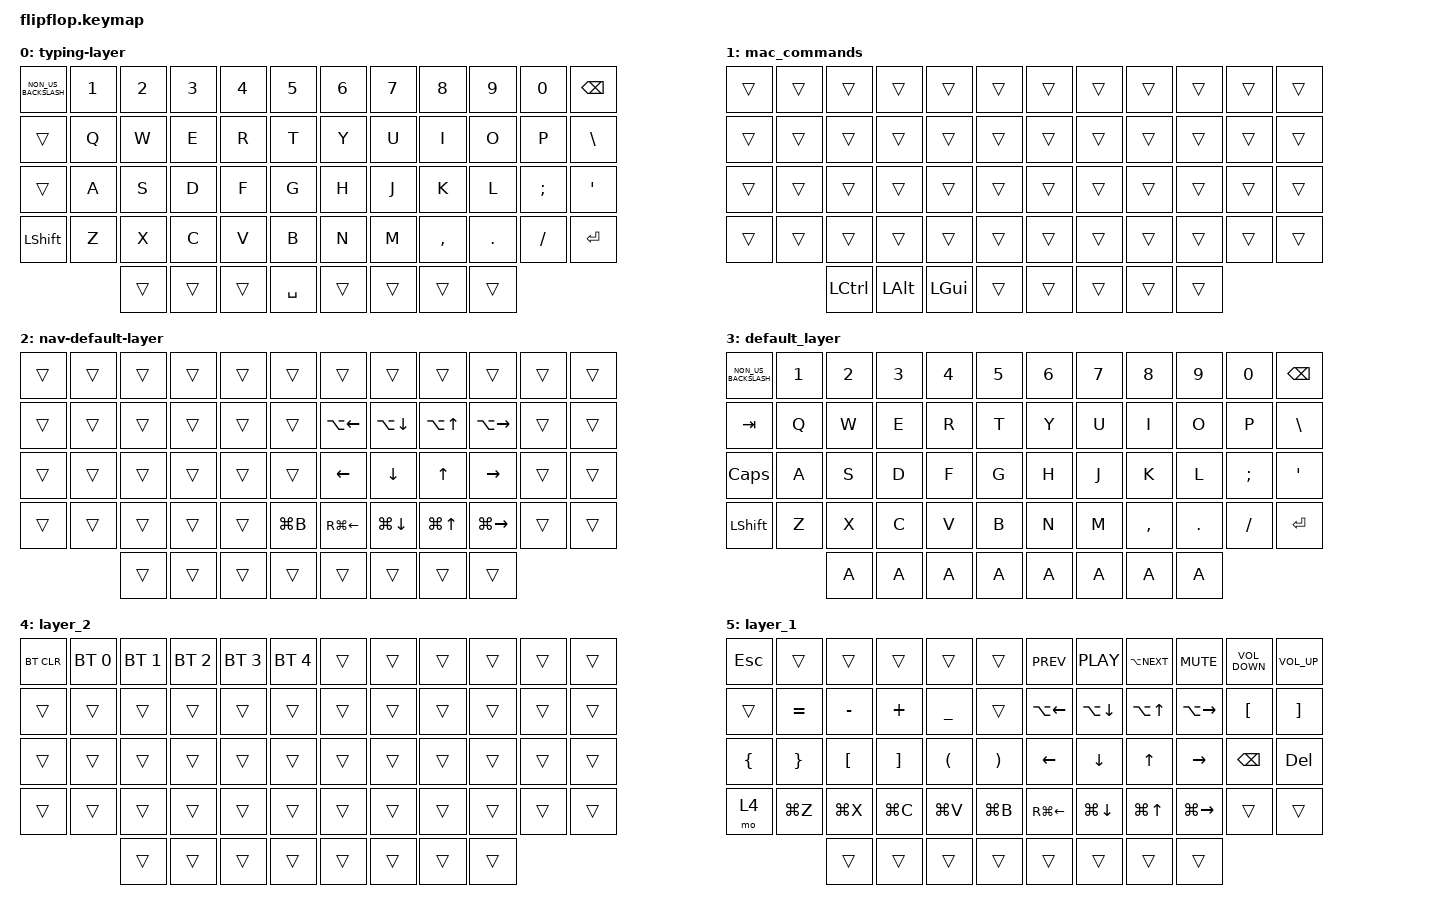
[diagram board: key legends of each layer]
#include <behaviors.dtsi>
#include <dt-bindings/zmk/bt.h>
#include <dt-bindings/zmk/keys.h>

/ {
    keymap {
        compatible = "zmk,keymap";

        typing-layer {
            bindings = <
&kp NON_US_BACKSLASH  &kp N1  &kp N2  &kp N3  &kp N4  &kp N5       &kp N6  &kp N7  &kp N8     &kp N9   &kp N0    &kp BACKSPACE
&trans                &kp Q   &kp W   &kp E   &kp R   &kp T        &kp Y   &kp U   &kp I      &kp O    &kp P     &kp BSLH
&trans                &kp A   &kp S   &kp D   &kp F   &kp G        &kp H   &kp J   &kp K      &kp L    &kp SEMI  &kp APOS
&kp LEFT_SHIFT        &kp Z   &kp X   &kp C   &kp V   &kp B        &kp N   &kp M   &kp COMMA  &kp DOT  &kp FSLH  &kp RET
                              &trans  &trans  &trans  &kp SPACE    &trans  &trans  &trans     &trans
            >;
        };

        mac_commands {
            bindings = <
&trans  &trans  &trans     &trans    &trans    &trans    &trans  &trans  &trans  &trans  &trans  &trans
&trans  &trans  &trans     &trans    &trans    &trans    &trans  &trans  &trans  &trans  &trans  &trans
&trans  &trans  &trans     &trans    &trans    &trans    &trans  &trans  &trans  &trans  &trans  &trans
&trans  &trans  &trans     &trans    &trans    &trans    &trans  &trans  &trans  &trans  &trans  &trans
                &kp LCTRL  &kp LALT  &kp LGUI  &trans    &trans  &trans  &trans  &trans
            >;
        };

        nav-default-layer {
            bindings = <
&trans  &trans  &trans  &trans  &trans  &trans       &trans              &trans              &trans            &trans               &trans  &trans
&trans  &trans  &trans  &trans  &trans  &trans       &kp LA(LEFT_ARROW)  &kp LA(DOWN_ARROW)  &kp LA(UP_ARROW)  &kp LA(RIGHT_ARROW)  &trans  &trans
&trans  &trans  &trans  &trans  &trans  &trans       &kp LEFT_ARROW      &kp DOWN_ARROW      &kp UP_ARROW      &kp RIGHT_ARROW      &trans  &trans
&trans  &trans  &trans  &trans  &trans  &kp LG(B)    &kp RG(LEFT_ARROW)  &kp LG(DOWN_ARROW)  &kp LG(UP_ARROW)  &kp LG(RIGHT_ARROW)  &trans  &trans
                &trans  &trans  &trans  &trans       &trans              &trans              &trans            &trans
            >;
        };

        default_layer {
            // ---------------------------------------------------------------------------------
            // |   `  |  1  |  2  |  3  |  4  |  5  |     |  6  |  7  |  8  |  9  |  0  | BKSP |
            // |  TAB |  Q  |  W  |  E  |  R  |  T  |     |  Y  |  U  |  I  |  O  |  P  |  \   |
            // | CAPS |  A  |  S  |  D  |  F  |  G  |     |  H  |  J  |  K  |  L  |  ;  |  ENT |
            // | SHFT |  Z  |  X  |  C  |  V  |  B  |     |  N  |  M  |  ,  |  .  |  /  | APOS |
            //              | GUI | SPC | SPC | SPC |     | SPC |  B  |  C  |  D |

            bindings = <
&kp NON_US_BACKSLASH  &kp N1  &kp N2  &kp N3  &kp N4  &kp N5    &kp N6  &kp N7  &kp N8     &kp N9   &kp N0    &kp BSPC
&kp TAB               &kp Q   &kp W   &kp E   &kp R   &kp T     &kp Y   &kp U   &kp I      &kp O    &kp P     &kp BSLH
&kp CAPS              &kp A   &kp S   &kp D   &kp F   &kp G     &kp H   &kp J   &kp K      &kp L    &kp SEMI  &kp APOS
&kp LSHFT             &kp Z   &kp X   &kp C   &kp V   &kp B     &kp N   &kp M   &kp COMMA  &kp DOT  &kp FSLH  &kp ENTER
                              &kp A   &kp A   &kp A   &kp A     &kp A   &kp A   &kp A      &kp A
            >;
        };

        layer_2 {
            bindings = <
&bt BT_CLR  &bt BT_SEL 0  &bt BT_SEL 1  &bt BT_SEL 2  &bt BT_SEL 3  &bt BT_SEL 4    &trans  &trans  &trans  &trans  &trans  &trans
&trans      &trans        &trans        &trans        &trans        &trans          &trans  &trans  &trans  &trans  &trans  &trans
&trans      &trans        &trans        &trans        &trans        &trans          &trans  &trans  &trans  &trans  &trans  &trans
&trans      &trans        &trans        &trans        &trans        &trans          &trans  &trans  &trans  &trans  &trans  &trans
                          &trans        &trans        &trans        &trans          &trans  &trans  &trans  &trans
            >;
        };

        layer_1 {
            bindings = <
&kp ESC         &trans           &trans     &trans     &trans                &trans                   &kp C_PREV          &kp C_PLAY          &kp LA(C_NEXT)    &kp K_MUTE           &kp C_VOLUME_DOWN  &kp C_VOL_UP
&trans          &kp EQUAL        &kp MINUS  &kp PLUS   &kp UNDERSCORE        &trans                   &kp LA(LEFT_ARROW)  &kp LA(DOWN_ARROW)  &kp LA(UP_ARROW)  &kp LA(RIGHT_ARROW)  &kp LBKT           &kp RBKT
&kp LEFT_BRACE  &kp RIGHT_BRACE  &kp LBKT   &kp RBKT   &kp LEFT_PARENTHESIS  &kp RIGHT_PARENTHESIS    &kp LEFT_ARROW      &kp DOWN_ARROW      &kp UP_ARROW      &kp RIGHT_ARROW      &kp BSPC           &kp DELETE
&mo 4           &kp LG(Z)        &kp LG(X)  &kp LG(C)  &kp LG(V)             &kp LG(B)                &kp RG(LEFT_ARROW)  &kp LG(DOWN_ARROW)  &kp LG(UP_ARROW)  &kp LG(RIGHT_ARROW)  &trans             &trans
                                 &trans     &trans     &trans                &trans                   &trans              &trans              &trans            &trans
            >;
        };
    };
};
